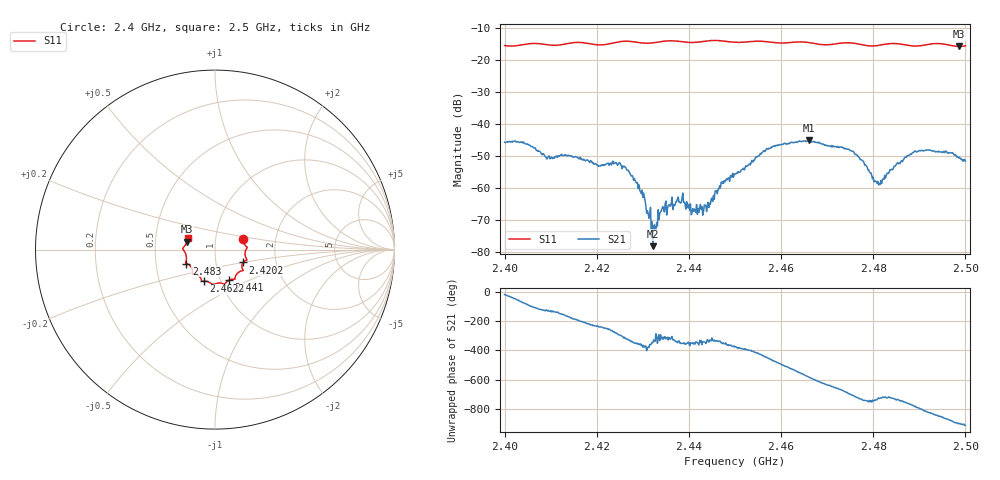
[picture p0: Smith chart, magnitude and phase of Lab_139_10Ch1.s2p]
# Hz S RI R 50
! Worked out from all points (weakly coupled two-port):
!   601 points, 2.4 GHz to 2.5 GHz, reference 50 ohm
!   highest |S21| = -45.24 dB at 2.466 GHz (marker M1); lowest = -78.3 dB at 2.4322 GHz (marker M2)
!   lowest |S11| = -15.8 dB at 2.4987 GHz (marker M3), VSWR 1.39, Z = 36.4 + j3.33 ohm
!   |S11| at or under -10 dB: start of sweep to end of sweep
!   S12 and S22 are empty: the file has one direction only
!   S11 on the Smith chart (normalised r, x): 2.4 GHz: 1.36, +0.17; 2.4202 GHz: 1.35, -0.20; 2.441 GHz: 1.09, -0.39; 2.4622 GHz: 0.83, -0.30; 2.483 GHz: 0.72, -0.12; 2.5 GHz: 0.73, +0.09
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2.4e9  0.156 0.0601  0.00482 -0.00171  0 0  0 0
2.416667e9  0.1774 -0.0581  -0.00262 0.00115  0 0  0 0
2.420167e9  0.1557 -0.0719  -0.00141 0.0018  0 0  0 0
2.4265e9  0.1571 -0.1164  0.00149 0.00118  0 0  0 0
2.43e9  0.1341 -0.1249  0.000671 -0.00021  0 0  0 0
2.432167e9  0.1168 -0.1424  0.000118 2.72e-05  0 0  0 0
2.433333e9  0.1127 -0.1525  0.000316 0.000322  0 0  0 0
2.4345e9  0.1116 -0.1602  0.000386 0.00029  0 0  0 0
2.438167e9  0.1022 -0.1645  0.000563 0.000108  0 0  0 0
2.441e9  0.0767 -0.1706  0.000425 2.41e-05  0 0  0 0
2.4435e9  0.0589 -0.1865  0.000505 0.000159  0 0  0 0
2.45e9  0.0265 -0.1861  0.00157 -0.000464  0 0  0 0
2.462167e9  -0.0635 -0.1762  -0.00489 -0.00139  0 0  0 0
2.466e9  -0.075 -0.1707  -0.00411 0.00361  0 0  0 0
2.466667e9  -0.0763 -0.1668  -0.00331 0.004  0 0  0 0
2.475333e9  -0.1257 -0.1338  0.0036 0.00103  0 0  0 0
2.481e9  -0.1443 -0.0852  0.00124 -0.000188  0 0  0 0
2.483e9  -0.1593 -0.0779  0.00168 -8.29e-05  0 0  0 0
2.483333e9  -0.1607 -0.0773  0.00167 7.06e-05  0 0  0 0
2.4895e9  -0.1619 -0.0283  0.00133 -0.00337  0 0  0 0
2.498667e9  -0.1559 0.0445  -0.00298 -0.000211  0 0  0 0
2.5e9  -0.153 0.0632  -0.00255 0.000458  0 0  0 0
